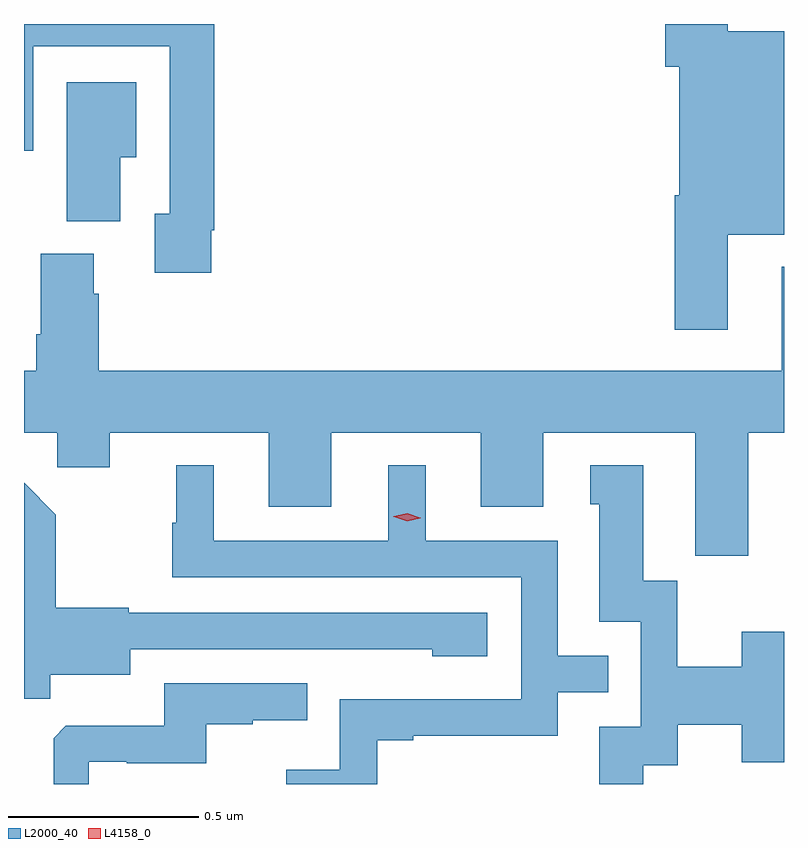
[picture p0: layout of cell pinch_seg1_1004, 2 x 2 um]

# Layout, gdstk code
import gdstk
lib = gdstk.Library(unit=1e-6, precision=1e-09)
def P(c, l, *ps):  # polygons
    for p in ps: c.add(gdstk.Polygon(p, *l))
L2000_40 = (2000, 40)
L4158_0 = (4158, 0)

pinch_seg1_1004 = lib.new_cell('pinch_seg1_1004')
P(pinch_seg1_1004, L2000_40, [(348.652,541.609),(348.659,541.609),(348.659,542.152),(348.159,542.152),(348.159,541.818),(348.183,541.818),(348.183,542.094),(348.543,542.094),(348.543,541.653),(348.503,541.653),(348.503,541.497),(348.652,541.497)],
  [(350.011,541.598),(350.159,541.598),(350.159,542.133),(350.011,542.133),(350.011,542.152),(349.847,542.152),(349.847,542.04),(349.883,542.04),(349.883,541.702),(349.871,541.702),(349.871,541.347),(350.011,541.347)],
  [(348.412,541.802),(348.454,541.802),(348.454,541.999),(348.272,541.999),(348.272,541.633),(348.412,541.633)],
  [(350.065,541.076),(350.159,541.076),(350.159,541.513),(350.153,541.513),(350.153,541.24),(348.356,541.24),(348.356,541.442),(348.343,541.442),(348.343,541.548),(348.203,541.548),(348.203,541.336),(348.191,541.336),(348.191,541.24),(348.159,541.24),(348.159,541.076),(348.247,541.076),(348.247,540.986),(348.385,540.986),(348.385,541.076),(348.803,541.076),(348.803,540.882),(348.967,540.882),(348.967,541.076),(349.361,541.076),(349.361,540.882),(349.525,540.882),(349.525,541.076),(349.925,541.076),(349.925,540.865),(349.926,540.865),(349.926,540.753),(350.065,540.753)],
  [(349.789,540.202),(349.879,540.202),(349.879,540.308),(350.048,540.308),(350.048,540.209),(350.159,540.209),(350.159,540.553),(350.048,540.553),(350.048,540.46),(349.878,540.46),(349.878,540.687),(349.789,540.687),(349.789,540.991),(349.649,540.991),(349.649,540.888),(349.673,540.888),(349.673,540.579),(349.782,540.579),(349.782,540.303),(349.673,540.303),(349.673,540.152),(349.789,540.152)],
  [(349.089,540.267),(349.183,540.267),(349.183,540.279),(349.563,540.279),(349.563,540.393),(349.697,540.393),(349.697,540.489),(349.563,540.489),(349.563,540.792),(349.216,540.792),(349.216,540.991),(349.118,540.991),(349.118,540.792),(348.658,540.792),(348.658,540.991),(348.56,540.991),(348.56,540.84),(348.549,540.84),(348.549,540.696),(349.467,540.696),(349.467,540.375),(348.99,540.375),(348.99,540.19),(348.849,540.19),(348.849,540.152),(349.089,540.152)],
  [(348.228,540.44),(348.439,540.44),(348.439,540.507),(348.997,540.507),(348.997,540.506),(349.233,540.506),(349.233,540.488),(349.378,540.488),(349.378,540.603),(348.435,540.603),(348.435,540.616),(348.243,540.616),(348.243,540.861),(348.159,540.945),(348.159,540.376),(348.228,540.376)],
  [(348.33,540.21),(348.43,540.21),(348.43,540.207),(348.638,540.207),(348.638,540.309),(348.761,540.309),(348.761,540.32),(348.905,540.32),(348.905,540.417),(348.528,540.417),(348.528,540.305),(348.269,540.305),(348.237,540.273),(348.237,540.152),(348.33,540.152)])
P(pinch_seg1_1004, L4158_0, [(349.167,540.844),(349.132,540.855),(349.131,540.855),(349.132,540.856),(349.167,540.864),(349.202,540.853),(349.203,540.853),(349.202,540.852)])

lib.write_gds('pinch_seg1_1004.gds')
